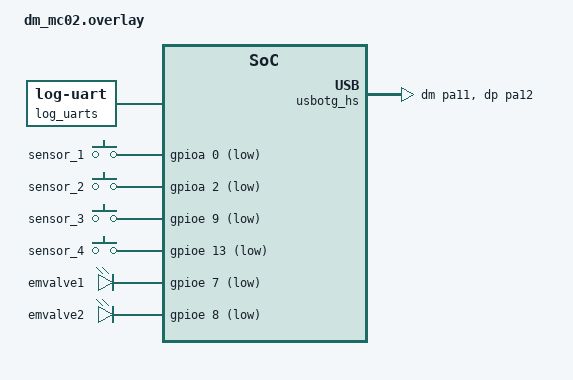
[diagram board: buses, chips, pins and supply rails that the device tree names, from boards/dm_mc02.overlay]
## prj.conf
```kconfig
CONFIG_CMSIS_DSP=y
CONFIG_CMSIS_DSP_CONTROLLER=y
CONFIG_CMSIS_DSP_FASTMATH=y

CONFIG_MOTOR=y
CONFIG_MOTOR_COMMON=y
CONFIG_MOTOR_DM=y
CONFIG_MOTOR_RS=y
CONFIG_MOTOR_VESC=y
CONFIG_MOTOR_LK=y
CONFIG_MOTOR_LOG_LEVEL=4
CONFIG_CAN=y
CONFIG_MOTOR_INIT_PRIORITY=90
CONFIG_FPU=y
CONFIG_FPU_SHARING=y
CONFIG_ARES=y
CONFIG_ARES_SBUS=y
CONFIG_EKF_LIB=n
CONFIG_SERIAL=y
CONFIG_UART_INTERRUPT_DRIVEN=y
CONFIG_UART_ASYNC_API=y
CONFIG_NOCACHE_MEMORY=y
CONFIG_SENSOR=y
CONFIG_BMI08X=n
CONFIG_WIT_HWT906=n

CONFIG_AUTO_PROBE_GYRO_BIAS=n

CONFIG_CHASSIS=y
CONFIG_PID=y

CONFIG_DUAL_PROPOSE_PROTOCOL=y
CONFIG_USB_BULK_INTERFACE=y
CONFIG_UART_LINE_CTRL=y
CONFIG_USBD_CDC_ACM_CLASS=y
CONFIG_CDC_ACM_SERIAL_INITIALIZE_AT_BOOT=n
CONFIG_UDC_DRIVER_HIGH_SPEED_SUPPORT_ENABLED=n
CONFIG_USBD_MAX_SPEED_FULL=y

# CONFIG_SEGGER_SYSTEMVIEW=y

# CONFIG_TRACING_SYSCALL=n

CONFIG_UDC_DRIVER_LOG_LEVEL_INF=y
CONFIG_USBD_LOG_LEVEL_INF=y
CONFIG_USBD_CDC_ACM_LOG_LEVEL_WRN=y

CONFIG_CBPRINTF_FP_SUPPORT=y
```

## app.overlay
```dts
/* Board-specific hardware lives in boards/<board>.overlay. */
```

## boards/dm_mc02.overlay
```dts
/ {
	chosen {
		zephyr,console = &cdc_acm_uart0;
		zephyr,shell-uart = &cdc_acm_uart0;
		zephyr,log-uart = &log_uarts;
		sbus,uart = &uart5;
	};

	log_uarts: log_uarts {
		compatible = "zephyr,log-uart";
		uarts = <&usart10 &cdc_acm_uart0>;
	};

	chassis: chassis {
		compatible = "ares,chassis";
		status = "okay";
		wheels = <&steerwheel4  (-5650) (-5650)>,
				<&steerwheel2 (5650) (5650)>,
				<&steerwheel1 (-5650) (5650)>,
				<&steerwheel3 (5650) (-5650)>;
		angle-pid = <&chassis_roll_angle_pid>;
		track_angle;
		max_linear_accel = "15";
	};
	steerwheel {
		steerwheel1: steerwheel1 {
			#wheel-cells = <2>;
			compatible = "ares,steerwheel";
			status = "okay";
			steer-motor = <&motor_steer0>;
			wheel-motor = <&motor_wheel0>;
			wheel-radius = "0.04";
			angle-offset = "0";
			multi_turn;
		};

		steerwheel2: steerwheel2 {
			#wheel-cells = <2>;
			compatible = "ares,steerwheel";
			status = "okay";
			steer-motor = <&motor_steer1>;
			wheel-motor = <&motor_wheel1>;
			wheel-radius = "0.04";
			angle-offset = "180";
			multi_turn;
		};

		steerwheel3: steerwheel3 {
			#wheel-cells = <2>;
			compatible = "ares,steerwheel";
			status = "okay";
			steer-motor = <&motor_steer2>;
			wheel-motor = <&motor_wheel2>;
			wheel-radius = "0.04";
			angle-offset = "180";
			multi_turn;
		};
		steerwheel4: steerwheel4 {
			#wheel-cells = <2>;
			compatible = "ares,steerwheel";
			status = "okay";
			steer-motor = <&motor_steer3>;
			wheel-motor = <&motor_wheel3>;
			wheel-radius = "0.04";
			angle-offset = "0";
			multi_turn;
		};
	};

	motor {
		motor_wheel0: motor_wheel0{
			compatible = "vesc,motor";
            id = <1>;
            can_channel = <&fdcan1>;
            gear_ratio = "1.0f";
            kv = "150.0f";
            pole_pairs = "14";
            p_max = "12.57f";
            v_max = "314.0f";
            t_max = "1.5f";
            i_max = "2.f";
            status = "okay";
		};

		motor_wheel1: motor_wheel1{
			compatible = "vesc,motor";
            id = <2>;
            can_channel = <&fdcan2>;
            gear_ratio = "1.0f";
            kv = "150.0f";
            pole_pairs = "14";
            p_max = "12.57f";
            v_max = "314.0f";
            t_max = "1.5f";
            i_max = "2.f";
            status = "okay";
		};

		motor_wheel2: motor_wheel2{
			compatible = "vesc,motor";
            id = <3>;
            can_channel = <&fdcan2>;
            gear_ratio = "1.0f";
            kv = "150.0f";
            pole_pairs = "14";
            p_max = "12.57f";
            v_max = "314.0f";
            t_max = "1.5f";
            i_max = "2.f";
            status = "okay";
		};
		motor_wheel3: motor_wheel3{
			compatible = "vesc,motor";
            id = <4>;
            can_channel = <&fdcan1>;
            gear_ratio = "1.0f";
            kv = "150.0f";
            pole_pairs = "14";
            p_max = "12.57f";
            v_max = "314.0f";
            t_max = "1.5f";
            i_max = "2.f";
            status = "okay";
		};
		motor_steer0: motor_steer0{
			compatible = "lk,motor";
			id = <1>;
			rx_id = <0x00>;
			tx_id = <0x01>;
			status = "okay";
			can_channel = <&fdcan1>;
			controllers = <&steer_angle_ctrl &steer_speed_ctrl &steer_torque_ctrl>;
		};

		motor_steer1: motor_steer1{
			compatible = "lk,motor";
			id = <2>;
			rx_id = <0x00>;
			tx_id = <0x02>;
			status = "okay";
			can_channel = <&fdcan2>;
			controllers = <&steer_angle_ctrl &steer_speed_ctrl &steer_torque_ctrl>;
		};

		motor_steer2: motor_steer2{
			compatible = "lk,motor";
			id = <3>;
			rx_id = <0x00>;
			tx_id = <0x03>;
			status = "okay";
			can_channel = <&fdcan2>;
			controllers = <&steer_angle_ctrl &steer_speed_ctrl &steer_torque_ctrl>;
		};
		motor_steer3: motor_steer3{
			compatible = "lk,motor";
			id = <4>;
			rx_id = <0x00>;
			tx_id = <0x04>;
			status = "okay";
			can_channel = <&fdcan1>;
			controllers = <&steer_angle_ctrl &steer_speed_ctrl &steer_torque_ctrl>;
		};
		dm_motor0: dm_motor0{
			compatible = "dm,motor";
			id = <1>;
			rx_id = <0x1D>;
			tx_id = <0x01>;
			v_max = "785";
			status = "okay";
			can_channel = <&fdcan1>;
			controllers = <&mit>;
			t_max = "5";
			freq = <1000>;
		};
		dm_motor1: dm_motor1{
			compatible = "dm,motor";
			id = <2>;
			rx_id = <0x1D>;
			tx_id = <0x02>;
			v_max = "785";
			status = "okay";
			can_channel = <&fdcan2>;
			controllers = <&mit>;
			t_max = "5";
			freq = <1000>;
		};
		dm_motor2: dm_motor2{
			compatible = "dm,motor";
			id = <3>;
			rx_id = <0x1D>;
			tx_id = <0x03>;
			v_max = "785";
			status = "okay";
			can_channel = <&fdcan2>;
			controllers = <&mit>;
			t_max = "5";
			freq = <1000>;
		};
		dm_motor3: dm_motor3{
			compatible = "dm,motor";
			id = <4>;
			rx_id = <0x1D>;
			tx_id = <0x04>;
			v_max = "785";
			status = "okay";
			can_channel = <&fdcan1>;
			controllers = <&mit>;
			t_max = "5";
			freq = <1000>;
		};
		arm_rs_motor1: arm_rs_motor1 {
			compatible = "rs,motor";
			id = <1>;
			tx_id = <0x01>;
			rx_id = <0xFD>;
			motor_type = "RS00";
			status = "okay";
			can_channel = <&fdcan3>;
			controllers = <&arm_mit_ctrl_1>;
		};
		arm_dm_motor2: arm_dm_motor2 {
			compatible = "dm,motor";
			id = <2>;
			tx_id = <0x02>;
			rx_id = <0x00>;
			status = "okay";
			can_channel = <&fdcan3>;
			controllers = <&arm_mit_ctrl_2>;
			p_max = "12.5";
			v_max = "30";
			t_max = "10";
			freq = <1000>;
		};
		arm_rs_motor3: arm_rs_motor3 {
			compatible = "rs,motor";
			id = <3>;
			tx_id = <0x03>;
			rx_id = <0xFD>;
			motor_type = "RS00";
			status = "okay";
			can_channel = <&fdcan3>;
			controllers = <&arm_mit_ctrl_3>;
		};
		arm_rs_motor4: arm_rs_motor4 {
			compatible = "rs,motor";
			id = <4>;
			tx_id = <0x04>;
			rx_id = <0xFD>;
			motor_type = "RS00";
			status = "okay";
			can_channel = <&fdcan3>;
			controllers = <&arm_mit_ctrl_4>;
		};
	};
	buttons {
        compatible = "gpio-keys";

        /* P11 4路接口，从上到下为 1/2/3/4 */
        sensor_1: photoelectric_switch_1 {
            gpios = <&gpioa 0 (GPIO_ACTIVE_LOW | GPIO_PULL_UP)>;
        };

        sensor_2: photoelectric_switch_2 {
            gpios = <&gpioa 2 (GPIO_ACTIVE_LOW | GPIO_PULL_UP)>;
        };
		sensor_3: photoelectric_switch_3 {
            gpios = <&gpioe 9 (GPIO_ACTIVE_LOW | GPIO_PULL_UP)>;
        };

        sensor_4: photoelectric_switch_4 {
            gpios = <&gpioe 13 (GPIO_ACTIVE_LOW | GPIO_PULL_UP)>;
        };
    };
	emvalve {
		compatible = "gpio-leds";

		emvalve1: emvalve1 {
			gpios = <&gpioe 7 GPIO_ACTIVE_LOW>;
			label = "emvalve1";
		};

		emvalve2: emvalve2 {
			gpios = <&gpioe 8 GPIO_ACTIVE_LOW>;
			label = "emvalve2";
		};
	};
	controller {
		mit: mit{
			#controller-cells = <0>;
			compatible = "motor-controller,mit";
			k_p = "100.0";
			k_d = "1.0";
		};
		arm_mit_ctrl_1: arm_mit_ctrl_1 {
			#controller-cells = <0>;
			compatible = "motor-controller,mit";
			k_p = "60.0";
			k_d = "1.0";
		};
		arm_mit_ctrl_2: arm_mit_ctrl_2 {
			#controller-cells = <0>;
			compatible = "motor-controller,mit";
			k_p = "100.0";
			k_d = "1.0";
		};
		arm_mit_ctrl_3: arm_mit_ctrl_3 {
			#controller-cells = <0>;
			compatible = "motor-controller,mit";
			k_p = "90.0";
			k_d = "1.0";
		};
		arm_mit_ctrl_4: arm_mit_ctrl_4 {
			#controller-cells = <0>;
			compatible = "motor-controller,mit";
			k_p = "30.0";
			k_d = "0.5";
		};
		wheel_speed_ctrl: wheel_speed_ctrl {
			#controller-cells = <0>;
			compatible = "motor-controller,vo";
			target = "speed";
		};
		steer_angle_ctrl: steer_angle_ctrl {
			#controller-cells = <0>;
			compatible = "motor-controller,pv";
			pos_k_p = "40";
			pos_k_i = "0.01";
			pos_k_d = "1";
			vel_k_p = "50";
			vel_k_i = "0.1";
			vel_k_d = "2";
		};
		steer_speed_ctrl: steer_speed_ctrl {
			#controller-cells = <0>;
			compatible = "motor-controller,vo";
			target = "speed";
			k_p = "50";
			k_i = "0.1";
			k_d = "2";
		};

		steer_torque_ctrl: steer_torque_ctrl {
			#controller-cells = <0>;
			compatible = "motor-controller,vo";
			target = "torque";
			k_p = "150";
			k_i = "1.0";
			k_d = "5";
		};
	};

	pid {
		chassis_roll_angle_pid: chassis_roll_angle_pid {
			#controller-cells = <0>;
			compatible = "pid,single";
			k_p = "0.3";
			k_d = "2.7";
		};


	};

	sbus0: sbus0 {
		compatible = "ares,sbus";
		status = "okay";
	};
};

&uart5 {
	dmas = <&dmamux1 3 65 STM32_DMA_PERIPH_RX>,
	       <&dmamux1 4 66 STM32_DMA_PERIPH_TX>;
	dma-names = "rx", "tx";
};

zephyr_udc0: &usbotg_hs {
	pinctrl-0 = <&usb_otg_hs_dm_pa11 &usb_otg_hs_dp_pa12>;
	pinctrl-names = "default";
	status = "okay";

	cdc_acm_uart0: cdc_acm_uart {
		compatible = "zephyr,cdc-acm-uart";
		status = "okay";
	};
};
```

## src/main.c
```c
#include <math.h>
#include <stdbool.h>
#include <stddef.h>
#include <stdint.h>
#include <errno.h>
#include <zephyr/device.h>
#include <zephyr/logging/log.h>
#include <zephyr/kernel.h>
#include <zephyr/drivers/motor.h>
#include <zephyr/drivers/sbus.h>
#include <zephyr/drivers/chassis.h>
#include <ares/board/init.h>
#include <ares/interface/usb/usb_bulk.h>
#include <ares/protocol/dual/dual_protocol.h>
#include <ares/ares_comm.h>
#include <sys/_stdint.h>
#include "devices.h"
#include "arm_control.h"
#include "usb_arm.h"
#include "zephyr/drivers/gpio.h"
#include <arm_math.h>

LOG_MODULE_REGISTER(main, LOG_LEVEL_DBG);
#define deg2high(deg)              ((deg) * 3.14159f * 45.0f / 360.0f)
#define high2deg(high)             ((high) * 360.0f / (3.14159f * 45.0f))
#define CHASSIS_CMD_X_IDX          0
#define CHASSIS_CMD_Y_IDX          1
#define CHASSIS_CMD_GYRO_IDX       2
#define CHASSIS_RX_TIMEOUT_MISSES  10U
#define DM_TELEMETRY_LOG_PERIOD_MS 50U

#define SBUS_SRC_SWITCH_CH         5
#define SBUS_HEIGHT_GROUP0_CH      6
#define SBUS_HEIGHT_GROUP1_CH      7
#define SBUS_SRC_SWITCH_THRESHOLD  0.3f
#define SBUS_SWITCH_HIGH_THRESHOLD 0.3f
#define SBUS_SWITCH_LOW_THRESHOLD  -0.3f
#define SBUS_HEIGHT_GROUP_COUNT    2

#define SUSPENSION_HEIGHT_LOW       -20.0f
#define SUSPENSION_HEIGHT_MID       20.0f
#define SUSPENSION_HEIGHT_HIGH      200.0f
#define SUSPENSION_HEIGHT_MAX       400.0f
#define SUSPENSION_HEIGHT_WRAP      1350.0f
#define SUSPENSION_HEIGHT_WRAP_HALF (SUSPENSION_HEIGHT_WRAP / 2.0f)

/* ==================== USB 协议 (原 2026_R2usb_imu) ==================== */

DUAL_PROPOSE_PROTOCOL_DEFINE(dual_protocol);
ARES_BULK_INTERFACE_DEFINE(usb_bulk_interface);

static uint32_t angle_tx_fail;

static uint32_t angle_fail_last_log;

/* ==================== 底盘 / 电机 / 传感器 (原 2026_R2usb_imu, 不变) ==================== */

sync_table_t *angle_tx;

float chassis_cmd[3] = {0};
float height_cmd[4] = {0};
float angle[12] = {0};
uint8_t chassis_cmd_buf[12] = {0};
uint8_t height_cmd_buf[16] = {0};
uint8_t anglebuf[48] = {0};

static struct gpio_callback sensor1_cb_data;
static struct gpio_callback sensor2_cb_data;
static struct gpio_callback sensor3_cb_data;
static struct gpio_callback sensor4_cb_data;
static volatile uint32_t chassis_rx_count;
static volatile uint32_t height_rx_count;
static volatile bool sbus_ready;
static volatile bool sbus_checked;
static int8_t sbus_height_level[SBUS_HEIGHT_GROUP_COUNT] = {-2, -2};

void unified_sensor_callback(const struct device *port, struct gpio_callback *cb, uint32_t pins);

static void clear_chassis_cmd(void)
{
	chassis_cmd[CHASSIS_CMD_X_IDX] = 0.0f;
	chassis_cmd[CHASSIS_CMD_Y_IDX] = 0.0f;
	chassis_cmd[CHASSIS_CMD_GYRO_IDX] = 0.0f;
}

static int check_device_ready(const struct device *dev, const char *name)
{
	if (dev == NULL || !device_is_ready(dev)) {
		LOG_ERR("device not ready: %s", name);
		return -ENODEV;
	}

	return 0;
}

static int setup_sensor_input(const struct gpio_dt_spec *sensor, struct gpio_callback *cb_data,
			      const char *name)
{
	int ret;

	if (!gpio_is_ready_dt(sensor)) {
		LOG_ERR("gpio not ready: %s", name);
		return -ENODEV;
	}

	ret = gpio_pin_configure_dt(sensor, GPIO_INPUT);
	if (ret < 0) {
		LOG_ERR("failed to configure %s: %d", name, ret);
		return ret;
	}

	ret = gpio_pin_interrupt_configure_dt(sensor, GPIO_INT_EDGE_BOTH);
	if (ret < 0) {
		LOG_ERR("failed to configure irq for %s: %d", name, ret);
		return ret;
	}

	gpio_init_callback(cb_data, unified_sensor_callback, BIT(sensor->pin));
	ret = gpio_add_callback(sensor->port, cb_data);
	if (ret < 0) {
		LOG_ERR("failed to add callback for %s: %d", name, ret);
		return ret;
	}

	return 0;
}

void unified_sensor_callback(const struct device *port, struct gpio_callback *cb, uint32_t pins)
{
	if (port == sensor1.port && (pins & BIT(sensor1.pin))) {
		if (gpio_pin_get_dt(&sensor1) > 0) {
			angle[0] = 1.0f;
		} else {
			angle[0] = 0.0f;
		}
	}

	if (port == sensor2.port && (pins & BIT(sensor2.pin))) {
		if (gpio_pin_get_dt(&sensor2) > 0) {
			angle[1] = 1.0f;
		} else {
			angle[1] = 0.0f;
		}
	}

	if (port == sensor3.port && (pins & BIT(sensor3.pin))) {
		if (gpio_pin_get_dt(&sensor3) > 0) {
			angle[2] = 1.0f;
		} else {
			angle[2] = 0.0f;
		}
	}

	if (port == sensor4.port && (pins & BIT(sensor4.pin))) {
		if (gpio_pin_get_dt(&sensor4) > 0) {
			angle[3] = 1.0f;
		} else {
			angle[3] = 0.0f;
		}
	}
}

bool ups[4] = {true, true, true, true};
const struct device *dmmotor[4];

static bool dm_telemetry_log_due(void)
{
	static uint32_t last_log_ms;
	uint32_t now_ms = k_uptime_get_32();

	if ((uint32_t)(now_ms - last_log_ms) < DM_TELEMETRY_LOG_PERIOD_MS) {
		return false;
	}

	last_log_ms = now_ms;
	return true;
}

static void log_dm_telemetry_if_due(void)
{
	motor_status_t status[4] = {0};

	if (!dm_telemetry_log_due()) {
		return;
	}

	for (int i = 0; i < 4; i++) {
		int ret = motor_get(dmmotor[i], &status[i]);

		if (ret < 0) {
			LOG_WRN("[DM] read failed: m%d ret=%d", i + 1, ret);
			return;
		}
	}

	LOG_INF("[DM] pos_deg=[%.1f,%.1f,%.1f,%.1f] speed_rpm=[%.1f,%.1f,%.1f,%.1f] "
		"torque=[%.2f,%.2f,%.2f,%.2f]",
		(double)status[0].angle, (double)status[1].angle, (double)status[2].angle,
		(double)status[3].angle, (double)status[0].rpm, (double)status[1].rpm,
		(double)status[2].rpm, (double)status[3].rpm, (double)status[0].torque,
		(double)status[1].torque, (double)status[2].torque, (double)status[3].torque);
}

void run()
{
	for (int id = 0; id < 4; id++) {
		motor_set_mit(dmmotor[id], 80.0f, -1.0f * (float)high2deg(SUSPENSION_HEIGHT_MID),
			      0.0f);
		ups[id] = true;
		k_sleep(K_USEC(130));
	}
}
void lift(int id, bool up)
{
	if (up && (!ups[id])) {
		motor_set_mit(dmmotor[id], 10.0f, 0.0f, 0.0);
		ups[id] = true;
	} else if ((!up) && (ups[id])) {
		motor_set_mit(dmmotor[id], 10.0f, -510.0f, 0.0);
		ups[id] = false;
	}
	k_sleep(K_USEC(130));
}
void lifthigh(int id, float high)
{
	if (high > SUSPENSION_HEIGHT_MAX) {
		high = SUSPENSION_HEIGHT_MAX;
	} else if (high < SUSPENSION_HEIGHT_LOW) {
		high = SUSPENSION_HEIGHT_LOW;
	}
	if (dmmotor[id] != NULL) {
		motor_set_mit(dmmotor[id], 250.0f, -1.0f * (float)high2deg(high), -0.5f);
	}

	k_sleep(K_USEC(130));
}

static int8_t sbus_height_level_from_channel(uint8_t channel)
{
	float height_switch = sbus_get_percent(sbus, channel);

	if (height_switch > SBUS_SWITCH_HIGH_THRESHOLD) {
		return 1;
	}
	if (height_switch < SBUS_SWITCH_LOW_THRESHOLD) {
		return -1;
	}
	return 0;
}

static float suspension_height_from_level(int8_t level)
{
	if (level > 0) {
		return SUSPENSION_HEIGHT_HIGH;
	}
	if (level < 0) {
		return SUSPENSION_HEIGHT_LOW;
	}
	return SUSPENSION_HEIGHT_MID;
}

static void apply_suspension_pair_height(int id0, int id1, float high)
{
	lifthigh(id0, high);
	lifthigh(id1, high);
}

static void apply_sbus_suspension_height(void)
{
	int8_t group0_level = sbus_height_level_from_channel(SBUS_HEIGHT_GROUP0_CH);
	int8_t group1_level = sbus_height_level_from_channel(SBUS_HEIGHT_GROUP1_CH);

	angle[11] = sbus_get_percent(sbus, SBUS_HEIGHT_GROUP0_CH);

	if (group0_level != sbus_height_level[0]) {
		sbus_height_level[0] = group0_level;
		apply_suspension_pair_height(0, 1, suspension_height_from_level(group0_level));
	}
	if (group1_level != sbus_height_level[1]) {
		sbus_height_level[1] = group1_level;
		apply_suspension_pair_height(2, 3, suspension_height_from_level(group1_level));
	}
}

static void reset_sbus_height_levels(void)
{
	for (int i = 0; i < SBUS_HEIGHT_GROUP_COUNT; i++) {
		sbus_height_level[i] = -2;
	}
}

static void apply_usb_height_cmd_if_ready(void)
{
	if (height_rx_count == 0U) {
		return;
	}

	for (int id = 0; id < 4; id++) {
		lifthigh(id, height_cmd[id]);
	}
}

static void log_sbus_channels(void)
{
	if (!sbus_checked) {
		return;
	}

	if (!sbus_ready) {
		LOG_INF("[SBUS] unavailable");
		return;
	}

	LOG_INF("[SBUS] ch0=%.2f ch1=%.2f ch2=%.2f ch3=%.2f ch4=%.2f ch5=%.2f ch6=%.2f ch7=%.2f",
		(double)sbus_get_percent(sbus, 0), (double)sbus_get_percent(sbus, 1),
		(double)sbus_get_percent(sbus, 2), (double)sbus_get_percent(sbus, 3),
		(double)sbus_get_percent(sbus, 4), (double)sbus_get_percent(sbus, 5),
		(double)sbus_get_percent(sbus, 6), (double)sbus_get_percent(sbus, 7));
}

int cnt = 0;
void console_feedback(void *arg1, void *arg2, void *arg3)
{

	bool zeroed = false;
	float linear_magnitude;
	bool in_deadzone;
	float X = 0.0f, Y = 0.0f, angvel = 0.0f;
	bool was_sbus_mode = false;
	while (1) {
		k_msleep(2);

		float src_switch = sbus_ready ? sbus_get_percent(sbus, SBUS_SRC_SWITCH_CH) : 0.0f;

		if (sbus_ready && src_switch > SBUS_SRC_SWITCH_THRESHOLD) {
			if (!was_sbus_mode) {
				reset_sbus_height_levels();
			}
			was_sbus_mode = true;

			angvel = -sbus_get_percent(sbus, 0);
			X = -sbus_get_percent(sbus, 3);
			Y = -sbus_get_percent(sbus, 1);

			linear_magnitude = sqrtf(X * X + Y * Y);
			in_deadzone = ((linear_magnitude < 0.06f) && (fabsf(angvel) < 0.06f));
			if (linear_magnitude < 0.06f) {
				X = 0;
				Y = 0;
			}
			if (in_deadzone) {
				chassis_set_speed(chassis, 0, 0);
				chassis_set_gyro(chassis, 0);
				angle[8] = 0.0f;
				angle[9] = 0.0f;
				angle[10] = 0.0f;
				zeroed = true;
			} else {
				chassis_set_static(chassis, false);
				chassis_set_speed(chassis, X, Y);
				chassis_set_gyro(chassis, -angvel);
				angle[8] = X;
				angle[9] = Y;
				angle[10] = angvel * 10.0f;
				zeroed = false;
			}
			apply_sbus_suspension_height();
		} else {
			was_sbus_mode = false;

			X = chassis_cmd[CHASSIS_CMD_X_IDX];
			Y = chassis_cmd[CHASSIS_CMD_Y_IDX];
			angvel = chassis_cmd[CHASSIS_CMD_GYRO_IDX];
			chassis_set_static(chassis, false);
			chassis_set_speed(chassis, X, Y);
			chassis_set_gyro(chassis, -angvel);
			angle[8] = X;
			angle[9] = Y;
			angle[10] = angvel;
			zeroed = false;
			apply_usb_height_cmd_if_ready();
		}
		if (cnt++ % 1000 == 0) {
			LOG_INF("[CHASSIS] src=%s sw=%.2f sensor=[%.0f,%.0f,%.0f,%.0f] "
				"high=[%.1f,%.1f,%.1f,%.1f] cmd=(%.1f,%.1f,%.1f) rx(ch=%u,h=%u)",
				was_sbus_mode ? "sbus" : "usb", (double)src_switch,
				(double)angle[0], (double)angle[1], (double)angle[2],
				(double)angle[3], (double)angle[4], (double)angle[5],
				(double)angle[6], (double)angle[7], (double)X, (double)Y,
				(double)angvel, chassis_rx_count, height_rx_count);
			log_sbus_channels();
		}
	}
}

K_THREAD_DEFINE(feedback_thread, 4096, console_feedback, NULL, NULL, NULL, 2, 0, 100);
uint32_t log_cnt;

int chassis_cmd_rx_cb(int status)
{
	if (status == SYNC_PACK_STATUS_DONE) {
		memcpy(chassis_cmd, chassis_cmd_buf, sizeof(chassis_cmd));
		chassis_rx_count++;
	}
	return 0;
}

int height_cmd_rx_cb(int status)
{

	if (status == SYNC_PACK_STATUS_DONE) {
		memcpy(height_cmd, height_cmd_buf, sizeof(height_cmd));
		height_rx_count++;
	}
	return 0;
}
int prepare(void)
{
	int ret;

	k_msleep(1000);

	ret = check_device_ready(chassis, "chassis");
	if (ret < 0) {
		return ret;
	}

	ret = check_device_ready(dm_motor1, "dm_motor1");
	if (ret < 0) {
		return ret;
	}
	ret = check_device_ready(dm_motor2, "dm_motor2");
	if (ret < 0) {
		return ret;
	}
	ret = check_device_ready(dm_motor3, "dm_motor3");
	if (ret < 0) {
		return ret;
	}
	ret = check_device_ready(dm_motor4, "dm_motor4");
	if (ret < 0) {
		return ret;
	}
	ret = check_device_ready(wheel_motor1, "wheel_motor1");
	if (ret < 0) {
		return ret;
	}
	ret = check_device_ready(wheel_motor2, "wheel_motor2");
	if (ret < 0) {
		return ret;
	}
	ret = check_device_ready(wheel_motor3, "wheel_motor3");
	if (ret < 0) {
		return ret;
	}
	ret = check_device_ready(wheel_motor4, "wheel_motor4");
	if (ret < 0) {
		return ret;
	}
	ret = check_device_ready(steer_motor1, "steer_motor1");
	if (ret < 0) {
		return ret;
	}
	ret = check_device_ready(steer_motor2, "steer_motor2");
	if (ret < 0) {
		return ret;
	}
	ret = check_device_ready(steer_motor3, "steer_motor3");
	if (ret < 0) {
		return ret;
	}
	ret = check_device_ready(steer_motor4, "steer_motor4");
	if (ret < 0) {
		return ret;
	}
	ret = check_device_ready(sbus, "sbus");
	if (ret < 0) {
		sbus_ready = false;
		sbus_checked = true;
		LOG_WRN("SBUS unavailable; continuing in USB-only control mode");
	} else {
		sbus_ready = true;
		sbus_checked = true;
		LOG_INF("SBUS ready");
	}

	dmmotor[0] = dm_motor1;
	dmmotor[1] = dm_motor2;
	dmmotor[2] = dm_motor3;
	dmmotor[3] = dm_motor4;
	motor_control(dm_motor1, ENABLE_MOTOR);
	motor_control(dm_motor2, ENABLE_MOTOR);
	motor_control(dm_motor3, ENABLE_MOTOR);
	motor_control(dm_motor4, ENABLE_MOTOR);
	motor_control(wheel_motor1, ENABLE_MOTOR);
	motor_control(wheel_motor2, ENABLE_MOTOR);
	motor_control(wheel_motor3, ENABLE_MOTOR);
	motor_control(wheel_motor4, ENABLE_MOTOR);
	motor_control(steer_motor1, ENABLE_MOTOR);
	motor_control(steer_motor2, ENABLE_MOTOR);
	motor_control(steer_motor3, ENABLE_MOTOR);
	motor_control(steer_motor4, ENABLE_MOTOR);

	ret = setup_sensor_input(&sensor1, &sensor1_cb_data, "sensor1");
	if (ret < 0) {
		return ret;
	}
	ret = setup_sensor_input(&sensor2, &sensor2_cb_data, "sensor2");
	if (ret < 0) {
		return ret;
	}
	ret = setup_sensor_input(&sensor3, &sensor3_cb_data, "sensor3");
	if (ret < 0) {
		return ret;
	}
	ret = setup_sensor_input(&sensor4, &sensor4_cb_data, "sensor4");
	if (ret < 0) {
		return ret;
	}

	angle[0] = gpio_pin_get_dt(&sensor1) > 0 ? 1.0f : 0.0f;
	angle[1] = gpio_pin_get_dt(&sensor2) > 0 ? 1.0f : 0.0f;
	angle[2] = gpio_pin_get_dt(&sensor3) > 0 ? 1.0f : 0.0f;
	angle[3] = gpio_pin_get_dt(&sensor4) > 0 ? 1.0f : 0.0f;

	return 0;
}
int main(void)
{
	int ret;
	sync_table_t *chassis_rx;
	sync_table_t *height_rx;
	uint32_t last_chassis_rx_count = 0U;
	uint32_t missed_chassis_cycles = 0U;
	// k_msleep(1000);/
	// run();
	k_msleep(100);
	LOG_INF("2026_R2usb_armv2 booting: starting USB first");

	ret = ares_bind_interface(&usb_bulk_interface, &dual_protocol);
	if (ret < 0) {
		LOG_ERR("failed to bind usb interface: %d", ret);
		return ret;
	}

	chassis_rx = dual_sync_add(&dual_protocol, 0x0111, chassis_cmd_buf, sizeof(chassis_cmd_buf),
				   (dual_trans_cb_t)chassis_cmd_rx_cb);
	height_rx = dual_sync_add(&dual_protocol, 0x0112, height_cmd_buf, sizeof(height_cmd_buf),
				  (dual_trans_cb_t)height_cmd_rx_cb);
	angle_tx = dual_sync_add(&dual_protocol, 0x0121, anglebuf, 48, NULL);
	if (chassis_rx == NULL || height_rx == NULL || angle_tx == NULL) {
		LOG_ERR("failed to register dual sync packs");
		return -ENOMEM;
	}
	LOG_INF("USB core sync packs registered: 0x0111=chassis, 0x0112=height, 0x0121=telem");

	ret = prepare();
	if (ret < 0) {
		LOG_ERR("prepare failed: %d", ret);
		return ret;
	}

	run();
	ret = arm_control_prepare();
	if (ret < 0) {
		LOG_ERR("arm prepare failed: %d", ret);
		return ret;
	}

	chassis_set_enabled(chassis, true);
	chassis_set_gyro(chassis, 0);
	ret = usb_arm_init(&dual_protocol);
	if (ret < 0) {
		LOG_ERR("failed to register arm usb sync: %d", ret);
		return ret;
	}
	LOG_INF("2026_R2usb_armv2 started: 0x0111=chassis, 0x0112=height, 0x0121=telem, "
		"0x0203=arm");

	bool angle_tx_due = false;

	while (1) {
		k_msleep(5);

		if (chassis_rx_count != last_chassis_rx_count) {
			last_chassis_rx_count = chassis_rx_count;
			missed_chassis_cycles = 0U;
		} else if (missed_chassis_cycles < CHASSIS_RX_TIMEOUT_MISSES) {
			missed_chassis_cycles++;
		}

		if (missed_chassis_cycles >= CHASSIS_RX_TIMEOUT_MISSES) {
			clear_chassis_cmd();
		}

		for (int i = 0; i < 4; i++) {
			float height = -1.0f * deg2high((float)motor_get_angle(dmmotor[i]));

			if (height > SUSPENSION_HEIGHT_WRAP_HALF) {
				height -= SUSPENSION_HEIGHT_WRAP;
			} else if (height < -SUSPENSION_HEIGHT_WRAP_HALF) {
				height += SUSPENSION_HEIGHT_WRAP;
			}
			angle[i + 4] = height;
		}
		// log_dm_telemetry_if_due();
		memcpy(anglebuf, angle, sizeof(angle));

		/* Keep telemetry at 100Hz. */
		angle_tx_due = !angle_tx_due;

		if (angle_tx_due) {
			int ret = dual_sync_flush(&dual_protocol, angle_tx);
			if (ret != 0 && ret != -EBUSY) {
				angle_tx_fail++;
				if (angle_fail_last_log == 0 ||
				    angle_tx_fail - angle_fail_last_log >= 100) {
					LOG_ERR("[USB_ANGLE_FAIL] ret=%d (fail=%u)", ret,
						angle_tx_fail);
					angle_fail_last_log = angle_tx_fail;
				}
			}
		}
	}

	return 0;
}
```

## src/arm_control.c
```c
#include "arm_control.h"

#include <errno.h>
#include <math.h>
#include <stdbool.h>

#include <zephyr/device.h>
#include <zephyr/drivers/gpio.h>
#include <zephyr/drivers/motor.h>
#include <zephyr/kernel.h>
#include <zephyr/logging/log.h>

LOG_MODULE_REGISTER(arm_control, LOG_LEVEL_DBG);

#define ARM_JOINT1_NODE DT_NODELABEL(arm_rs_motor1)
#define ARM_JOINT2_NODE DT_NODELABEL(arm_dm_motor2)
#define ARM_JOINT3_NODE DT_NODELABEL(arm_rs_motor3)
#define ARM_JOINT4_NODE DT_NODELABEL(arm_rs_motor4)
#define EMVALVE1_NODE DT_NODELABEL(emvalve1)
#define EMVALVE2_NODE DT_NODELABEL(emvalve2)

#define M1_MIN_DEG 0.0f
#define M1_MAX_DEG 180.0f
#define M2_MIN_DEG (-135.0f)
#define M2_MAX_DEG 0.0f
#define M3_MIN_DEG (-127.0f)
#define M3_MAX_DEG 153.0f
#define M4_MIN_DEG (-180.0f)
#define M4_MAX_DEG 32.7f

#define POSE_INTERVAL_MS 100
#define TRAJ_DT_MS 20
#define TRAJ_MIN_SEGMENT_MS 900
#define TRAJ_DEFAULT_SPEED_DPS 40.0f
#define TRAJ_MIN_SPEED_DPS 1.0f

static const struct device *motor1 = DEVICE_DT_GET(ARM_JOINT1_NODE);
static const struct device *motor2 = DEVICE_DT_GET(ARM_JOINT2_NODE);
static const struct device *motor3 = DEVICE_DT_GET(ARM_JOINT3_NODE);
static const struct device *motor4 = DEVICE_DT_GET(ARM_JOINT4_NODE);

static const struct gpio_dt_spec emvalve1 = GPIO_DT_SPEC_GET(EMVALVE1_NODE, gpios);
static const struct gpio_dt_spec emvalve2 = GPIO_DT_SPEC_GET(EMVALVE2_NODE, gpios);

static bool arm_feedback_enabled;
static float m1_fb;
static float m2_fb;
static float m3_fb;
static float m4_fb;

static int check_device_ready(const struct device *dev, const char *name)
{
	if (dev == NULL || !device_is_ready(dev)) {
		LOG_ERR("device not ready: %s", name);
		return -ENODEV;
	}

	return 0;
}

static float clamp_float(float val, float min, float max)
{
	if (val < min) {
		return min;
	}
	if (val > max) {
		return max;
	}
	return val;
}

static float max_pose_diff(const motor_angles_t *start, const motor_angles_t *end)
{
	float diff1 = fabsf(end->motor1_angle - start->motor1_angle);
	float diff2 = fabsf(end->motor2_angle - start->motor2_angle);
	float diff3 = fabsf(end->motor3_angle - start->motor3_angle);
	float diff4 = fabsf(end->motor4_angle - start->motor4_angle);
	float max_diff = diff1;

	if (diff2 > max_diff) {
		max_diff = diff2;
	}
	if (diff3 > max_diff) {
		max_diff = diff3;
	}
	if (diff4 > max_diff) {
		max_diff = diff4;
	}

	return max_diff;
}

static motor_angles_t clamp_pose(const motor_angles_t *pose)
{
	motor_angles_t out = *pose;

	out.motor1_angle = clamp_float(out.motor1_angle, M1_MIN_DEG, M1_MAX_DEG);
	out.motor2_angle = clamp_float(out.motor2_angle, M2_MIN_DEG, M2_MAX_DEG);
	out.motor3_angle = clamp_float(out.motor3_angle, M3_MIN_DEG, M3_MAX_DEG);
	out.motor4_angle = clamp_float(out.motor4_angle, M4_MIN_DEG, M4_MAX_DEG);

	return out;
}

static void warn_pose_limits(const motor_angles_t *pose, size_t index)
{
	if (pose->motor1_angle < M1_MIN_DEG || pose->motor1_angle > M1_MAX_DEG) {
		LOG_WRN("Path %u: motor1 %.1f out of range [%.1f, %.1f]",
			(unsigned int)index, (double)pose->motor1_angle,
			(double)M1_MIN_DEG, (double)M1_MAX_DEG);
	}
	if (pose->motor2_angle < M2_MIN_DEG || pose->motor2_angle > M2_MAX_DEG) {
		LOG_WRN("Path %u: motor2 %.1f out of range [%.1f, %.1f]",
			(unsigned int)index, (double)pose->motor2_angle,
			(double)M2_MIN_DEG, (double)M2_MAX_DEG);
	}
	if (pose->motor3_angle < M3_MIN_DEG || pose->motor3_angle > M3_MAX_DEG) {
		LOG_WRN("Path %u: motor3 %.1f out of range [%.1f, %.1f]",
			(unsigned int)index, (double)pose->motor3_angle,
			(double)M3_MIN_DEG, (double)M3_MAX_DEG);
	}
	if (pose->motor4_angle < M4_MIN_DEG || pose->motor4_angle > M4_MAX_DEG) {
		LOG_WRN("Path %u: motor4 %.1f out of range [%.1f, %.1f]",
			(unsigned int)index, (double)pose->motor4_angle,
			(double)M4_MIN_DEG, (double)M4_MAX_DEG);
	}
}

static void set_mit_pose(const motor_angles_t *pose, const motor_angles_t *speed)
{
	motor_set_mit(motor1, speed->motor1_angle, pose->motor1_angle, 0.0f);
	motor_set_mit(motor2, speed->motor2_angle, pose->motor2_angle, 0.0f);
	motor_set_mit(motor3, speed->motor3_angle, pose->motor3_angle, 0.0f);
	motor_set_mit(motor4, speed->motor4_angle, pose->motor4_angle, 0.0f);
}

static void execute_path_segment(const motor_angles_t *start, const motor_angles_t *end,
				 float speed_dps)
{
	motor_angles_t start_clamped = clamp_pose(start);
	motor_angles_t end_clamped = clamp_pose(end);
	float max_diff = max_pose_diff(&start_clamped, &end_clamped);
	const motor_angles_t zero_speed = {0.0f, 0.0f, 0.0f, 0.0f};

	if (max_diff < 0.001f) {
		set_mit_pose(&end_clamped, &zero_speed);
		return;
	}

	float segment_ms = (max_diff / speed_dps) * 1000.0f;

	if (segment_ms < TRAJ_MIN_SEGMENT_MS) {
		segment_ms = TRAJ_MIN_SEGMENT_MS;
	}

	size_t steps = (size_t)ceilf(segment_ms / (float)TRAJ_DT_MS);
	if (steps < 1) {
		steps = 1;
	}

	float segment_s = ((float)steps * (float)TRAJ_DT_MS) / 1000.0f;
	float inv_steps = 1.0f / (float)steps;
	float inv_segment_s = 1.0f / segment_s;
	motor_angles_t delta = {
		.motor1_angle = end_clamped.motor1_angle - start_clamped.motor1_angle,
		.motor2_angle = end_clamped.motor2_angle - start_clamped.motor2_angle,
		.motor3_angle = end_clamped.motor3_angle - start_clamped.motor3_angle,
		.motor4_angle = end_clamped.motor4_angle - start_clamped.motor4_angle,
	};
	motor_angles_t delta_speed = {
		.motor1_angle = delta.motor1_angle * inv_segment_s,
		.motor2_angle = delta.motor2_angle * inv_segment_s,
		.motor3_angle = delta.motor3_angle * inv_segment_s,
		.motor4_angle = delta.motor4_angle * inv_segment_s,
	};

	for (size_t i = 0; i <= steps; i++) {
		float r = (float)i * inv_steps;
		float one_minus_r = 1.0f - r;
		float r2 = r * r;
		float r3 = r2 * r;
		float s = r3 * (10.0f + r * (-15.0f + 6.0f * r));
		float sd = 30.0f * r2 * one_minus_r * one_minus_r;
		motor_angles_t pose = {
			.motor1_angle = start_clamped.motor1_angle + delta.motor1_angle * s,
			.motor2_angle = start_clamped.motor2_angle + delta.motor2_angle * s,
			.motor3_angle = start_clamped.motor3_angle + delta.motor3_angle * s,
			.motor4_angle = start_clamped.motor4_angle + delta.motor4_angle * s,
		};
		motor_angles_t speed = {
			.motor1_angle = delta_speed.motor1_angle * sd,
			.motor2_angle = delta_speed.motor2_angle * sd,
			.motor3_angle = delta_speed.motor3_angle * sd,
			.motor4_angle = delta_speed.motor4_angle * sd,
		};

		set_mit_pose(&pose, &speed);
		if (i < steps) {
			k_msleep(TRAJ_DT_MS);
		}
	}
}

void execute_path(const motor_angles_t *poses, size_t count, float speed_dps)
{
	if (poses == NULL || count < 2) {
		return;
	}

	if (speed_dps < TRAJ_MIN_SPEED_DPS) {
		speed_dps = TRAJ_DEFAULT_SPEED_DPS;
	}

	for (size_t i = 0; i < count; i++) {
		warn_pose_limits(&poses[i], i);
	}

	for (size_t i = 0; i + 1 < count; i++) {
		execute_path_segment(&poses[i], &poses[i + 1], speed_dps);
	}
}

void execute_pose_sequence(const motor_angles_t *poses, size_t count)
{
	for (size_t i = 0; i < count; i++) {
		motor_angles_t pose = clamp_pose(&poses[i]);

		warn_pose_limits(&poses[i], i);
		motor_set_mit(motor1, 0.0f, pose.motor1_angle, 0.0f);
		motor_set_mit(motor2, 0.0f, pose.motor2_angle, 0.0f);
		motor_set_mit(motor3, 0.0f, pose.motor3_angle, 0.0f);
		motor_set_mit(motor4, 0.0f, pose.motor4_angle, 0.0f);
		k_msleep(POSE_INTERVAL_MS);
	}
}

void xipan_on(void)
{
	gpio_pin_set_dt(&emvalve1, 1);
	gpio_pin_set_dt(&emvalve2, 1);
	LOG_INF("Suction ON");
}

void xipan_off(void)
{
	gpio_pin_set_dt(&emvalve1, 0);
	gpio_pin_set_dt(&emvalve2, 0);
	LOG_INF("Suction OFF");
}

static int xipan_init(void)
{
	int ret;

	if (!gpio_is_ready_dt(&emvalve1) || !gpio_is_ready_dt(&emvalve2)) {
		LOG_ERR("suction GPIO not ready");
		return -ENODEV;
	}

	ret = gpio_pin_configure_dt(&emvalve1, GPIO_OUTPUT_INACTIVE);
	if (ret < 0) {
		return ret;
	}

	ret = gpio_pin_configure_dt(&emvalve2, GPIO_OUTPUT_INACTIVE);
	if (ret < 0) {
		return ret;
	}

	LOG_INF("Suction GPIO initialized (PE7/PE8, active-low)");
	return 0;
}

static int arm_motor_enable_mit(const struct device *motor, const char *name)
{
	int ret;

	ret = check_device_ready(motor, name);
	if (ret < 0) {
		return ret;
	}

	motor_control(motor, ENABLE_MOTOR);
	k_msleep(100);

	ret = motor_set_mit(motor, 0.0f, motor_get_angle(motor), 0.0f);
	if (ret < 0) {
		LOG_ERR("failed to set %s MIT target: %d", name, ret);
		return ret;
	}
	k_msleep(100);

	return 0;
}

static void arm_feedback_thread(void *arg1, void *arg2, void *arg3)
{
	ARG_UNUSED(arg1);
	ARG_UNUSED(arg2);
	ARG_UNUSED(arg3);

	while (1) {
		if (arm_feedback_enabled) {
			m1_fb = motor_get_angle(motor1);
			m2_fb = motor_get_angle(motor2);
			m3_fb = motor_get_angle(motor3);
			m4_fb = motor_get_angle(motor4);
		}

		k_msleep(10);
	}
}

K_THREAD_DEFINE(arm_feedback_tid, 4096, arm_feedback_thread, NULL, NULL, NULL, 2, 0, 100);

int arm_control_prepare(void)
{
	int ret;

	ret = arm_motor_enable_mit(motor1, "arm_rs_motor1");
	if (ret < 0) {
		return ret;
	}
	ret = arm_motor_enable_mit(motor2, "arm_dm_motor2");
	if (ret < 0) {
		return ret;
	}
	ret = arm_motor_enable_mit(motor3, "arm_rs_motor3");
	if (ret < 0) {
		return ret;
	}
	ret = arm_motor_enable_mit(motor4, "arm_rs_motor4");
	if (ret < 0) {
		return ret;
	}

	ret = xipan_init();
	if (ret < 0) {
		return ret;
	}

	k_msleep(500);
	execute_pose_sequence(init, init_count);
	arm_feedback_enabled = true;

	LOG_INF("arm control ready");
	return 0;
}
```

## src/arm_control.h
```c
#ifndef ARM_CONTROL_H
#define ARM_CONTROL_H

#include <stddef.h>

#include "arm_poses.h"

int arm_control_prepare(void);
void execute_path(const motor_angles_t *poses, size_t count, float speed_dps);
void execute_pose_sequence(const motor_angles_t *poses, size_t count);
void xipan_on(void);
void xipan_off(void);

#endif /* ARM_CONTROL_H */
```

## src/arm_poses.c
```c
#include "arm_poses.h"

#include <math.h>

// ============== 位姿序列数据 ==============

const motor_angles_t init[] = {
    {0.0f, -135.0f, 152.31f, 22.8f},
};
const size_t init_count = sizeof(init) / sizeof(init[0]);


const motor_angles_t store1[] = {
    {0.0f, -135.0f, 152.31f, 22.8f},  /* 暂用 init 位姿，需修改 */
};
const size_t store1_count = sizeof(store1) / sizeof(store1[0]);

const motor_angles_t store2[] = {
    {0.0f, -135.0f, 152.31f, 0.00f},
};
const size_t store2_count = sizeof(store2) / sizeof(store2[0]);

const motor_angles_t forward_positive_200[] = {
    {0.0f, -61.02f, 86.51f, -64.50f},
};
const size_t forward_positive_200_count = sizeof(forward_positive_200) / sizeof(forward_positive_200[0]);

const motor_angles_t forward_positive_400[] = {
    {0.0f, -61.02f, 86.51f, -64.50f},
};
const size_t forward_positive_400_count = sizeof(forward_positive_400) / sizeof(forward_positive_400[0]);

// const motor_angles_t forward_negative_200[] = {
//     {0.0f, -40.61f, 75.00f, -130.61f},
// };
const motor_angles_t forward_negative_200[] = {
    {0.0f, 0.00f, 0.00f, -170.00f},//有问题
};

const size_t forward_negative_200_count = sizeof(forward_negative_200) / sizeof(forward_negative_200[0]);

const motor_angles_t left_positive_200[] = {
    {-90.0f, -39.11f, 51.44f, -77.67f},
};
const size_t left_positive_200_count = sizeof(left_positive_200) / sizeof(left_positive_200[0]);

const motor_angles_t left_positive_400[] = {
    {-90.0f, -39.11f, 51.44f, -77.67f},
};
const size_t left_positive_400_count = sizeof(left_positive_400) / sizeof(left_positive_400[0]);

const motor_angles_t left_negative_200[] = {
    {-90.0f, -15.22f, 27.90f, -167.32f},//有问题
};
const size_t left_negative_200_count = sizeof(left_negative_200) / sizeof(left_negative_200[0]);

const motor_angles_t right_positive_200[] = {
    {90.0f, -39.11f, 51.44f, -77.67f},
};
const size_t right_positive_200_count = sizeof(right_positive_200) / sizeof(right_positive_200[0]);

const motor_angles_t right_positive_400[] = {
    {90.0f, -39.11f, 51.44f, -77.67f},
};
const size_t right_positive_400_count = sizeof(right_positive_400) / sizeof(right_positive_400[0]);

const motor_angles_t right_negative_200[] = {
    {90.0f, -15.22f, 27.90f, -167.32f},//有问题
};
const size_t right_negative_200_count = sizeof(right_negative_200) / sizeof(right_negative_200[0]);

// const motor_angles_t put_2_floor[] = {
//     {0.0f, -91.39f, 76.41f, -104.98f},
// };
const motor_angles_t put_2_floor[] = {
    {0.0f, -125.55f, 100.47f, -115.08f},
};
const size_t put_2_floor_count = sizeof(put_2_floor) / sizeof(put_2_floor[0]);

const motor_angles_t put_3_floor[] = {
    {0.0f, -114.46f, 73.65f, -130.81f},
};
const size_t put_3_floor_count = sizeof(put_3_floor) / sizeof(put_3_floor[0]);




const motor_angles_t init_to_forward_positive_200[] = {
};
const size_t init_to_forward_positive_200_count = sizeof(init_to_forward_positive_200) / sizeof(init_to_forward_positive_200[0]);

const motor_angles_t init_to_forward_positive_400[] = {
};
const size_t init_to_forward_positive_400_count = sizeof(init_to_forward_positive_400) / sizeof(init_to_forward_positive_400[0]);

const motor_angles_t one_to_up[] = {
};
const size_t one_to_up_count = sizeof(one_to_up) / sizeof(one_to_up[0]);

const motor_angles_t two_to_up[] = {
};
const size_t two_to_up_count = sizeof(two_to_up) / sizeof(two_to_up[0]);

const motor_angles_t up_to_put[] = {
};
const size_t up_to_put_count = sizeof(up_to_put) / sizeof(up_to_put[0]);

const motor_angles_t put_to_init[] = {
};
const size_t put_to_init_count = sizeof(put_to_init) / sizeof(put_to_init[0]);

const motor_angles_t stay_init[] = {
    {0.0f,   0.00f,   0.00f,   0.00f},
};
const size_t stay_init_count = sizeof(stay_init) / sizeof(stay_init[0]);

size_t interpolate_poses(const motor_angles_t *start, const motor_angles_t *end,
                         motor_angles_t *result, float step_deg)
{
    float diff1 = fabsf(end->motor1_angle - start->motor1_angle);
    float diff2 = fabsf(end->motor2_angle - start->motor2_angle);
    float diff3 = fabsf(end->motor3_angle - start->motor3_angle);
    float diff4 = fabsf(end->motor4_angle - start->motor4_angle);
    float max_diff = diff1;

    if (diff2 > max_diff) max_diff = diff2;
    if (diff3 > max_diff) max_diff = diff3;
    if (diff4 > max_diff) max_diff = diff4;

    size_t steps = (size_t)ceilf(max_diff / step_deg);
    if (steps == 0) steps = 1;

    for (size_t i = 0; i <= steps; i++) {
        float t = (float)i / (float)steps;
        float m1_diff = end->motor1_angle - start->motor1_angle;
        float m2_diff = end->motor2_angle - start->motor2_angle;
        float m3_diff = end->motor3_angle - start->motor3_angle;
        float m4_diff = end->motor4_angle - start->motor4_angle;
        float progress1 = (diff1 > 0.001f) ? (t * max_diff / diff1) : 1.0f;
        float progress2 = (diff2 > 0.001f) ? (t * max_diff / diff2) : 1.0f;
        float progress3 = (diff3 > 0.001f) ? (t * max_diff / diff3) : 1.0f;
        float progress4 = (diff4 > 0.001f) ? (t * max_diff / diff4) : 1.0f;

        if (progress1 > 1.0f) progress1 = 1.0f;
        if (progress2 > 1.0f) progress2 = 1.0f;
        if (progress3 > 1.0f) progress3 = 1.0f;
        if (progress4 > 1.0f) progress4 = 1.0f;

        result[i].motor1_angle = start->motor1_angle + m1_diff * progress1;
        result[i].motor2_angle = start->motor2_angle + m2_diff * progress2;
        result[i].motor3_angle = start->motor3_angle + m3_diff * progress3;
        result[i].motor4_angle = start->motor4_angle + m4_diff * progress4;
    }

    return steps + 1;
}
```

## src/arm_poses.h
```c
#ifndef ARM_POSES_H
#define ARM_POSES_H

#include <stddef.h>
#include <stdbool.h>

/**
 * @brief 电机角度结构体
 */
typedef struct {
    float motor1_angle;  /**< yaw轴电机角度 */
    float motor2_angle;  /**< 大臂电机角度 */
    float motor3_angle;  /**< 小臂电机角度 */
    float motor4_angle;  /**< 末端电机角度 */
} motor_angles_t;

// ============== 位姿序列声明 ==============

/** @brief 初始位置 */
extern const motor_angles_t init[];
extern const size_t init_count;

/** @brief 存储位1 (第一次取物放置位) */
extern const motor_angles_t store1[];
extern const size_t store1_count;

/** @brief 存储位2 (第二次取物放置位) */
extern const motor_angles_t store2[];
extern const size_t store2_count;

/** @brief 前进正向200 */
extern const motor_angles_t forward_positive_200[];
extern const size_t forward_positive_200_count;

/** @brief 前进正向400 */
extern const motor_angles_t forward_positive_400[];
extern const size_t forward_positive_400_count;

/** @brief 前进负向200 */
extern const motor_angles_t forward_negative_200[];
extern const size_t forward_negative_200_count;

/** @brief 左移正向200 */
extern const motor_angles_t left_positive_200[];
extern const size_t left_positive_200_count;

/** @brief 左移正向400 */
extern const motor_angles_t left_positive_400[];
extern const size_t left_positive_400_count;

/** @brief 左移负向200 */
extern const motor_angles_t left_negative_200[];
extern const size_t left_negative_200_count;

/** @brief 右移正向200 */
extern const motor_angles_t right_positive_200[];
extern const size_t right_positive_200_count;

/** @brief 右移正向400 */
extern const motor_angles_t right_positive_400[];
extern const size_t right_positive_400_count;

/** @brief 右移负向200 */
extern const motor_angles_t right_negative_200[];
extern const size_t right_negative_200_count;

/** @brief 放置到2层 */
extern const motor_angles_t put_2_floor[];
extern const size_t put_2_floor_count;

/** @brief 放置到3层 */
extern const motor_angles_t put_3_floor[];
extern const size_t put_3_floor_count;

/** @brief 初始位置到前进正向200 */
extern const motor_angles_t init_to_forward_positive_200[];
extern const size_t init_to_forward_positive_200_count;

/** @brief 初始位置到前进正向400 */
extern const motor_angles_t init_to_forward_positive_400[];
extern const size_t init_to_forward_positive_400_count;

/** @brief 位姿1到上举 */
extern const motor_angles_t one_to_up[];
extern const size_t one_to_up_count;

/** @brief 位姿2到上举 */
extern const motor_angles_t two_to_up[];
extern const size_t two_to_up_count;

/** @brief 上举到放置 */
extern const motor_angles_t up_to_put[];
extern const size_t up_to_put_count;

/** @brief 放置回初始 */
extern const motor_angles_t put_to_init[];
extern const size_t put_to_init_count;

/** @brief 保持初始位置 */
extern const motor_angles_t stay_init[];
extern const size_t stay_init_count;

// ============== 插值函数 ==============

/**
 * @brief 线性插值函数
 *
 * 找出两个位姿中角度差最大的电机，以指定步长插入中间值
 * 其他电机按比例插值，到达最终值后保持
 *
 * @param[in] start 起始位姿
 * @param[in] end 结束位姿
 * @param[out] result 插值结果数组（需预先分配足够空间）
 * @param[in] step_deg 插值步长(度)
 * @return 插值点数量（包含起始和结束）
 */
size_t interpolate_poses(const motor_angles_t *start, const motor_angles_t *end,
                         motor_angles_t *result, float step_deg);

#endif /* ARM_POSES_H */
```

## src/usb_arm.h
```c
#ifndef USB_ARM_H
#define USB_ARM_H

#include "zephyr/kernel.h"
#include <stdint.h>

struct AresProtocol;

/**
 * @file usb_arm.h
 * @brief 机械臂 USB SYNC 通信层
 *
 * 复用 ARES dual_protocol SYNC 帧承载，走 USB bulk。
 * 指令帧与反馈帧共用同一动作对象 ID(0x0203)，靠收/发方向区分。
 *
 * 帧格式: head=0x5A5A, id=0x0203, action(u32), reserved(f32×4) = 24字节
 */

/* SYNC 动作对象 ID（与 ares_r2_tool 一致） */
#define SYNC_ID_ARM 0x0203

/* 动作枚举：上位机 action 字符串映射到这些值 */
enum usb_arm_action {
	STAY_INIT = 1,                  /* 保持在home位 */

	FIRST_PICK_FORWARD_HIGH = 2,               /* 第一次取前方高位 */
	FIRST_PICK_FORWARD_LOW = 3,                /* 第一次取前方低位 */
	FIRST_PICK_LEFT_HIGH = 4,                  /* 第一次取左方高位 */
	FIRST_PICK_LEFT_LOW = 5,                   /* 第一次取左方低位 */
	FIRST_PICK_RIGHT_HIGH = 6,                 /* 第一次取右方高位 */
	FIRST_PICK_RIGHT_LOW = 7,                  /* 第一次取右方低位 */

	SECOND_PICK_FORWARD_HIGH = 8,              /* 第二次取前方高位 */
	SECOND_PICK_FORWARD_LOW = 9,               /* 第二次取前方低位 */
	SECOND_PICK_LEFT_HIGH = 10,                /* 第二次取左方高位 */
	SECOND_PICK_LEFT_LOW = 11,                 /* 第二次取左方低位 */
	SECOND_PICK_RIGHT_HIGH = 12,               /* 第二次取右方高位 */
	SECOND_PICK_RIGHT_LOW = 13,                /* 第二次取右方低位 */

	FIRST_PUT_2_FLOOR = 14,               /* 第一次放2层 */
	SECOND_PUT_3_FLOOR = 15,              /* 第二次放3层 */

};

/**
 * @brief 初始化 USB 通信并启动命令接收线程
 *
 * 在 main() 中调用，复用 R2usb 已绑定的 dual_protocol。
 */
int usb_arm_init(struct AresProtocol *protocol);

/**
 * @brief 发送动作完成反馈帧给上位机
 *
 * 由命令处理线程在动作执行完毕后调用。
 * @param action 刚完成的动作枚举值
 */
void usb_arm_send_done(enum usb_arm_action action);

void xipan_on(void);
void xipan_off(void);

#endif /* USB_ARM_H */
```
